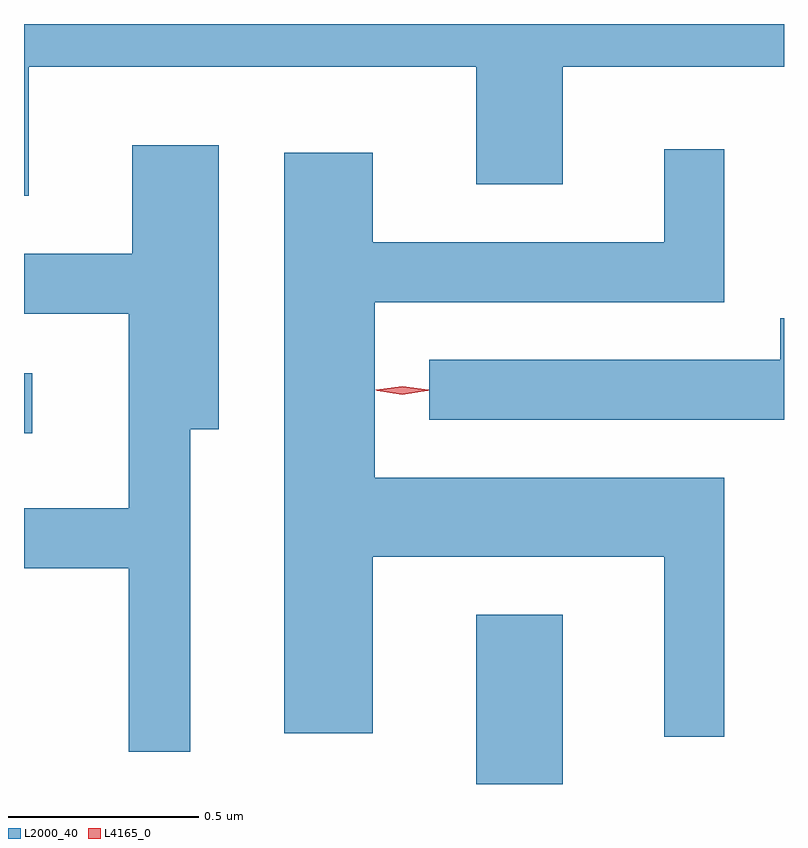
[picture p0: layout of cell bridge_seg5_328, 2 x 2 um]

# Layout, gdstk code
import gdstk
lib = gdstk.Library(unit=1e-6, precision=1e-09)
def R(c, l, rs):  # rectangles x0, y0, x1, y1
    for r in rs: c.add(gdstk.rectangle(r[:2], r[2:], *l))
def P(c, l, *ps):  # polygons
    for p in ps: c.add(gdstk.Polygon(p, *l))
L2000_40 = (2000, 40)
L4165_0 = (4165, 0)

bridge_seg5_328 = lib.new_cell('bridge_seg5_328')
R(bridge_seg5_328, L2000_40, [(662.021,1461.568,662.249,1462.014), (660.831,1462.491,660.853,1462.649)])
P(bridge_seg5_328, L2000_40, [(660.844,1463.456),(662.021,1463.456),(662.021,1463.146),(662.249,1463.146),(662.249,1463.456),(662.831,1463.456),(662.831,1463.568),(660.831,1463.568),(660.831,1463.116),(660.844,1463.116)],
  [(661.269,1462.501),(661.344,1462.501),(661.344,1463.249),(661.116,1463.249),(661.116,1462.964),(660.831,1462.964),(660.831,1462.806),(661.106,1462.806),(661.106,1462.294),(660.831,1462.294),(660.831,1462.136),(661.106,1462.136),(661.106,1461.653),(661.269,1461.653)],
  [(662.674,1462.374),(661.754,1462.374),(661.754,1462.836),(662.674,1462.836),(662.674,1463.238),(662.516,1463.238),(662.516,1462.994),(661.749,1462.994),(661.749,1463.229),(661.516,1463.229),(661.516,1461.701),(661.749,1461.701),(661.749,1462.166),(662.516,1462.166),(662.516,1461.693),(662.674,1461.693)],
  [(662.831,1462.794),(662.821,1462.794),(662.821,1462.684),(661.898,1462.684),(661.898,1462.526),(662.831,1462.526)])
P(bridge_seg5_328, L4165_0, [(661.827,1462.595),(661.758,1462.604),(661.757,1462.605),(661.758,1462.605),(661.827,1462.615),(661.896,1462.605),(661.896,1462.605),(661.896,1462.604)],
  [(661.826,1462.593),(661.76,1462.603),(661.76,1462.603),(661.76,1462.604),(661.826,1462.613),(661.892,1462.604),(661.893,1462.603),(661.892,1462.603)])

lib.write_gds('bridge_seg5_328.gds')
